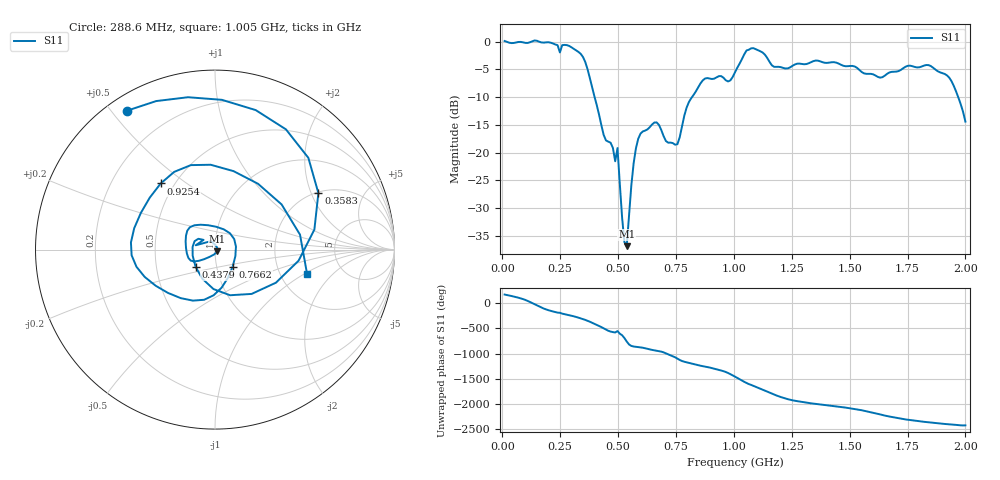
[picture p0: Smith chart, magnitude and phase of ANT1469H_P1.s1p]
!Created with skrf (http://scikit-rf.org).
# Hz S RI R 50.0
!freq ReS11 ImS11
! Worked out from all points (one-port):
!   201 points, 10 MHz to 2 GHz, reference 50 ohm
!   lowest |S11| = -36.8 dB at 537.4 MHz (marker M1), VSWR 1.03, Z = 51.1 - j0.931 ohm
!   |S11| at or under -10 dB: 398.8 MHz to 819.1 MHz (420.3 MHz wide, 69 % of centre); 1.969 GHz to end of sweep
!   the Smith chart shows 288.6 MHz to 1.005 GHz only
!   S11 on the Smith chart (normalised r, x): 288.6 MHz: 0.06, +0.55; 358.2 MHz: 2.04, +2.26; 437.9 MHz: 0.79, -0.16; 766.2 MHz: 1.19, -0.24; 925.4 MHz: 0.42, +0.40; 1.005 GHz: 2.81, -1.06
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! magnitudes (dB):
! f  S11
! 10 MHz  0.1
! 258.8 MHz  -0.6
! 288.6 MHz  -0.8
! 358.2 MHz  -3.7
! 437.9 MHz  -16.8
! 487.6 MHz  -21.5
! 497.6 MHz  -19.2
! 507.5 MHz  -25.6
! 527.4 MHz  -36.1
! 537.4 MHz  -36.8
! 567.2 MHz  -21.9
! 597 MHz  -16.6
! 666.7 MHz  -14.5
! 706.5 MHz  -17.9
! 756.2 MHz  -18.5
! 766.2 MHz  -17.2
! 816 MHz  -10.2
! 865.7 MHz  -7.0
! 925.4 MHz  -6.4
! 1.005 GHz  -5.5
! 1.075 GHz  -1.2
! 1.174 GHz  -4.5
! 1.254 GHz  -4.3
! 1.502 GHz  -4.4
! 1.632 GHz  -6.5
! 1.751 GHz  -4.4
! 1.92 GHz  -6.1
! 2 GHz  -14.4
